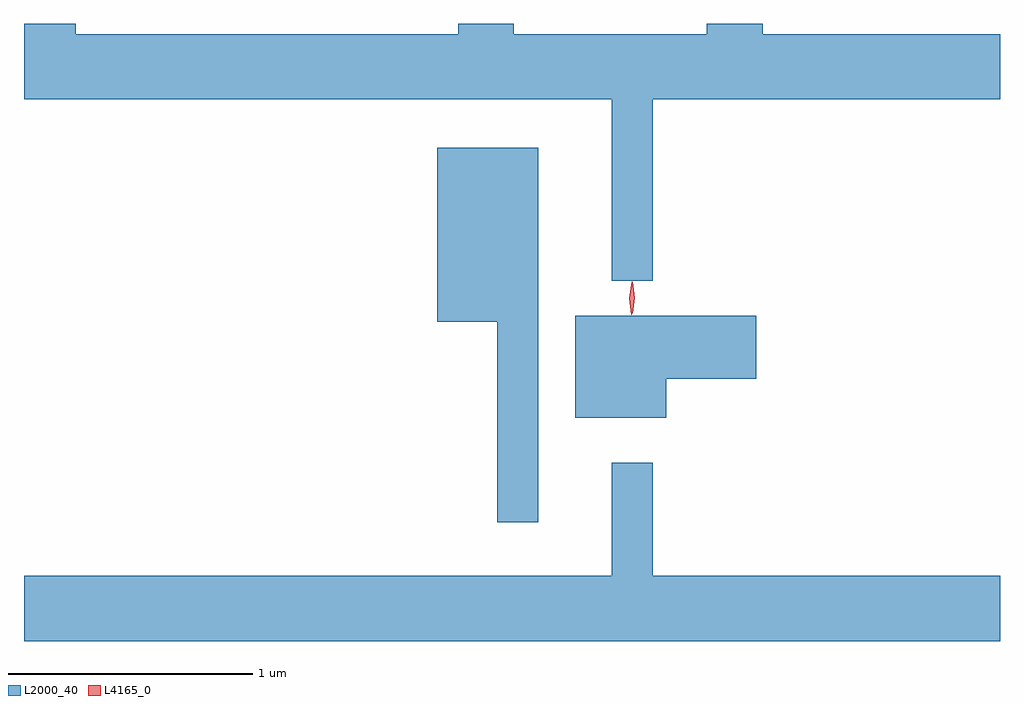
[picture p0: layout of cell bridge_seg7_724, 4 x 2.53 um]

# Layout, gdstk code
import gdstk
lib = gdstk.Library(unit=1e-6, precision=1e-09)
def P(c, l, *ps):  # polygons
    for p in ps: c.add(gdstk.Polygon(p, *l))
L2000_40 = (2000, 40)
L4165_0 = (4165, 0)

bridge_seg7_724 = lib.new_cell('bridge_seg7_724')
P(bridge_seg7_724, L2000_40, [(563.979,1794.236),(565.402,1794.236),(565.402,1794.504),(564.429,1794.504),(564.429,1794.546),(564.201,1794.546),(564.201,1794.504),(563.409,1794.504),(563.409,1794.546),(563.181,1794.546),(563.181,1794.504),(561.614,1794.504),(561.614,1794.546),(561.402,1794.546),(561.402,1794.236),(563.811,1794.236),(563.811,1793.493),(563.979,1793.493)],
  [(563.509,1794.039),(563.096,1794.039),(563.096,1793.326),(563.341,1793.326),(563.341,1792.503),(563.509,1792.503)],
  [(564.034,1793.091),(564.404,1793.091),(564.404,1793.349),(563.661,1793.349),(563.661,1792.931),(564.034,1792.931)],
  [(565.402,1792.284),(563.979,1792.284),(563.979,1792.748),(563.811,1792.748),(563.811,1792.284),(561.402,1792.284),(561.402,1792.016),(565.402,1792.016)])
P(bridge_seg7_724, L4165_0, [(563.895,1793.36),(563.885,1793.424),(563.895,1793.486),(563.895,1793.487),(563.896,1793.486),(563.905,1793.424),(563.896,1793.36),(563.896,1793.36)],
  [(563.891,1793.354),(563.883,1793.422),(563.893,1793.49),(563.894,1793.49),(563.894,1793.49),(563.902,1793.422),(563.892,1793.354),(563.892,1793.354)])

lib.write_gds('bridge_seg7_724.gds')
